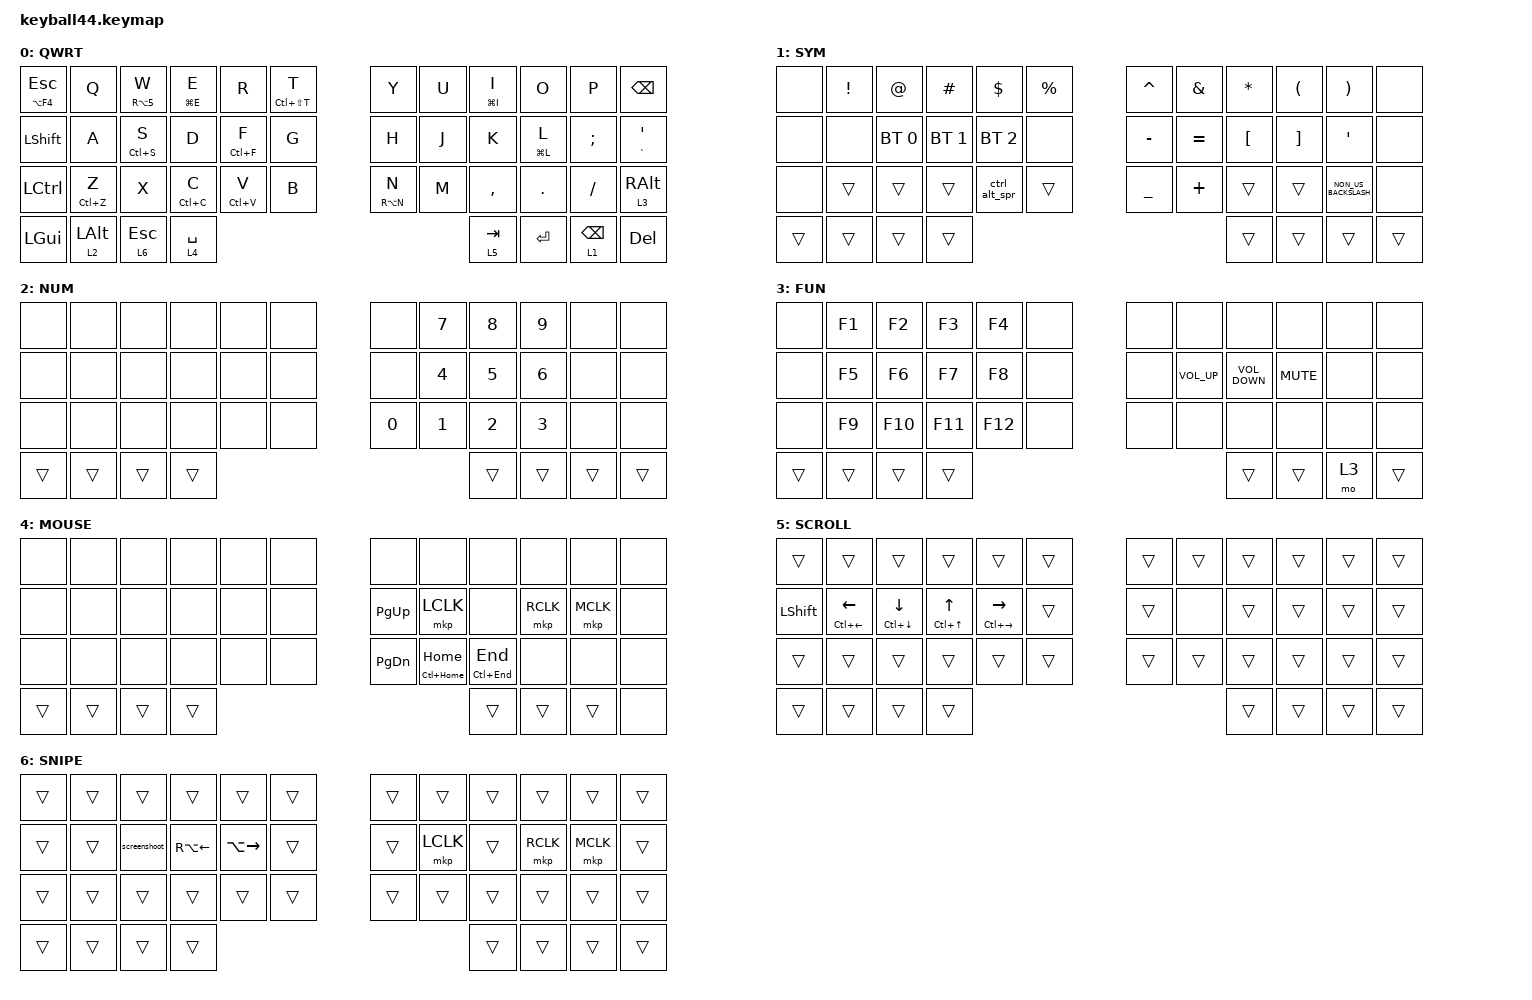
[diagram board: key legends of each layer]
#define DEFAULT 0
#define NUM     1
#define SYM     2
#define FUN     3
#define MOUSE   4
#define SCROLL  5
#define SNIPE   6

#include <behaviors/mouse_keys.dtsi>
#include <dt-bindings/zmk/mouse.h>
#include <behaviors.dtsi>
#include <dt-bindings/zmk/bt.h>
#include <dt-bindings/zmk/keys.h>
#include <dt-bindings/zmk/pointing.h>

&nice_view_spi { cs-gpios = <&pro_micro 1 GPIO_ACTIVE_HIGH>; };

&lt {
    tapping-term-ms = <300>;
    flavor = "tap-preferred";
    quick-tap-ms = <150>;
};

&mt {
    tapping-term-ms = <300>;
    flavor = "tap-preferred";
    quick-tap-ms = <150>;
    require-prior-idle-ms = <150>;
};

&caps_word { continue-list = <UNDERSCORE MINUS>; };

/ {
    // custom shift using mod-morph 

    behaviors {
        cmqus: comma_question {
            compatible = "zmk,behavior-mod-morph";
            label = "COMMA_QUESTION";
            #binding-cells = <0>;
            bindings = <&kp COMMA>, <&kp QUESTION>;

            mods = <(MOD_LSFT|MOD_RSFT)>;
        };

        dtsmi: dot_semi {
            compatible = "zmk,behavior-mod-morph";
            label = "DOT_SEMI";
            #binding-cells = <0>;
            bindings = <&kp DOT>, <&kp SEMI>;

            mods = <(MOD_LSFT|MOD_RSFT)>;
        };
    };

    macros {
        screenshoot: screenshoot {
            compatible = "zmk,behavior-macro";
            #binding-cells = <0>;
            bindings =
                <&macro_press>,
                <&kp LGUI &kp LSHIFT>,
                <&macro_tap>,
                <&kp S>,
                <&macro_release>,
                <&kp LSHIFT &kp LGUI>;

            label = "SCREENSHOOT";
        };

        ctrl_alt_spr: ctrl_alt_spr {
            compatible = "zmk,behavior-macro";
            #binding-cells = <0>;
            bindings =
                <&macro_press>,
                <&kp LCTRL &kp LEFT_ALT>,
                <&macro_tap>,
                <&kp DELETE>,
                <&macro_release>,
                <&kp LEFT_ALT &kp LCTRL>;

            label = "CTRL_ALT_SPR";
        };
    };

    keymap {
        compatible = "zmk,keymap";

        default_layer {
            label = "QWRT";
            bindings = <
&mt LA(F4) ESCAPE  &kp Q           &mt RA(N5) W  &mt LG(E) E  &kp R        &mt LC(LS(T)) T                 &kp Y            &kp U  &mt LG(I) I  &kp O        &kp P      &kp BACKSPACE
&kp LEFT_SHIFT     &kp A           &mt LC(S) S   &kp D        &mt LC(F) F  &kp G                           &kp H            &kp J  &kp K        &mt LG(L) L  &kp SEMI   &mt GRAVE SINGLE_QUOTE
&kp LCTRL          &mt LC(Z) Z     &kp X         &mt LC(C) C  &mt LC(V) V  &kp B                           &mt RA(N) N      &kp M  &kp COMMA    &kp DOT      &kp SLASH  &lt 3 RIGHT_ALT
&kp LGUI           &lt 2 LEFT_ALT  &lt 6 ESCAPE  &lt 4 SPACE  &lt 5 TAB                         &kp ENTER  &lt 1 BACKSPACE                                              &kp DELETE
            >;
        };

        symbol_layer {
            label = "SYM";
            bindings = <
&none   &kp EXCLAMATION  &kp AT_SIGN   &kp HASH      &kp DOLLAR     &kp PERCENT              &kp CARET       &kp AMPERSAND  &kp ASTERISK      &kp LEFT_PARENTHESIS  &kp RIGHT_PARENTHESIS  &none
&none   &none            &bt BT_SEL 0  &bt BT_SEL 1  &bt BT_SEL 2   &none                    &kp MINUS       &kp EQUAL      &kp LEFT_BRACKET  &kp RIGHT_BRACKET     &kp SQT                &none
&none   &trans           &trans        &trans        &ctrl_alt_spr  &trans                   &kp UNDERSCORE  &kp PLUS       &trans            &trans                &kp NON_US_BACKSLASH   &none
&trans  &trans           &trans        &trans        &trans                          &trans  &trans                                                                                        &trans
            >;
        };

        number_layer {
            label = "NUM";
            bindings = <
&none   &none   &none   &none   &none   &none              &none   &kp NUMBER_7  &kp NUMBER_8  &kp NUMBER_9  &none  &none
&none   &none   &none   &none   &none   &none              &none   &kp NUMBER_4  &kp N5        &kp NUMBER_6  &none  &none
&none   &none   &none   &none   &none   &none              &kp N0  &kp NUMBER_1  &kp NUMBER_2  &kp NUMBER_3  &none  &none
&trans  &trans  &trans  &trans  &trans             &trans  &trans                                                   &trans
            >;
        };

        function_layer {
            label = "FUN";
            bindings = <
&none   &kp F1  &kp F2   &kp F3   &kp F4   &none              &none  &none         &none              &none       &none  &none
&none   &kp F5  &kp F6   &kp F7   &kp F8   &none              &none  &kp C_VOL_UP  &kp C_VOLUME_DOWN  &kp C_MUTE  &none  &none
&none   &kp F9  &kp F10  &kp F11  &kp F12  &none              &none  &none         &none              &none       &none  &none
&trans  &trans  &trans   &trans   &trans              &trans  &mo 3                                                      &trans
            >;
        };

        mouse_layer {
            label = "MOUSE";
            bindings = <
&none   &none   &none   &none   &none   &none              &none          &none              &none            &none      &none      &none
&none   &none   &none   &none   &none   &none              &kp PAGE_UP    &mkp LCLK          &none            &mkp RCLK  &mkp MCLK  &none
&none   &none   &none   &none   &none   &none              &kp PAGE_DOWN  &mt LC(HOME) HOME  &mt LC(END) END  &none      &none      &none
&trans  &trans  &trans  &trans  &trans             &trans  &trans                                                                   &none
            >;
        };

        scroll_layer {
            label = "SCROLL";
            bindings = <
&trans          &trans                         &trans                         &trans                     &trans                           &trans              &trans  &trans  &trans  &trans  &trans  &trans
&kp LEFT_SHIFT  &mt LC(LEFT_ARROW) LEFT_ARROW  &mt LC(DOWN_ARROW) DOWN_ARROW  &mt LC(UP_ARROW) UP_ARROW  &mt LC(RIGHT_ARROW) RIGHT_ARROW  &trans              &trans  &none   &trans  &trans  &trans  &trans
&trans          &trans                         &trans                         &trans                     &trans                           &trans              &trans  &trans  &trans  &trans  &trans  &trans
&trans          &trans                         &trans                         &trans                     &trans                                       &trans  &trans                                  &trans
            >;
        };

        snipe_layer {
            label = "SNIPE";
            bindings = <
&trans  &trans  &trans        &trans              &trans               &trans              &trans  &trans     &trans  &trans     &trans     &trans
&trans  &trans  &screenshoot  &kp RA(LEFT_ARROW)  &kp LA(RIGHT_ARROW)  &trans              &trans  &mkp LCLK  &trans  &mkp RCLK  &mkp MCLK  &trans
&trans  &trans  &trans        &trans              &trans               &trans              &trans  &trans     &trans  &trans     &trans     &trans
&trans  &trans  &trans        &trans              &trans                           &trans  &trans                                           &trans
            >;
        };
    };
};
